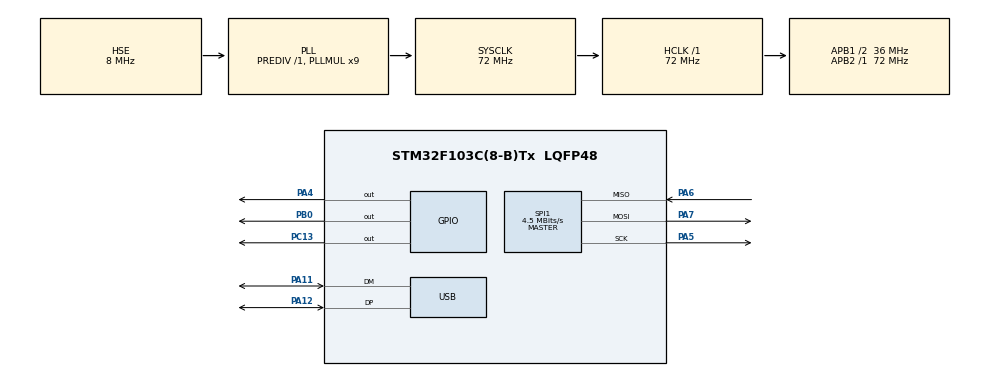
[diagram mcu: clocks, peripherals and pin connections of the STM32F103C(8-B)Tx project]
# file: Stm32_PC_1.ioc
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Mcu.Family=STM32F1
Mcu.Name=STM32F103C(8-B)Tx
Mcu.Package=LQFP48
NVIC.PriorityGroup=NVIC_PRIORITYGROUP_4
NVIC.SPI1_IRQn=true\:0\:0\:false\:false\:true\:true\:true\:true
NVIC.USB_HP_CAN1_TX_IRQn=true\:0\:0\:false\:false\:true\:true\:true\:true
NVIC.USB_LP_CAN1_RX0_IRQn=true\:0\:0\:false\:false\:true\:false\:true\:true
PA11.Mode=Device
PA11.Signal=USB_DM
PA12.Mode=Device
PA12.Signal=USB_DP
PA13.Mode=Serial_Wire
PA13.Signal=SYS_JTMS-SWDIO
PA14.Mode=Serial_Wire
PA14.Signal=SYS_JTCK-SWCLK
PA4.Signal=GPIO_Output
PA5.Mode=Full_Duplex_Master
PA5.Signal=SPI1_SCK
PA6.Mode=Full_Duplex_Master
PA6.Signal=SPI1_MISO
PA7.Mode=Full_Duplex_Master
PA7.Signal=SPI1_MOSI
PB0.Signal=GPIO_Output
PC13-TAMPER-RTC.Signal=GPIO_Output
PD0-OSC_IN.Mode=HSE-External-Oscillator
PD0-OSC_IN.Signal=RCC_OSC_IN
PD1-OSC_OUT.Mode=HSE-External-Oscillator
PD1-OSC_OUT.Signal=RCC_OSC_OUT
ProjectManager.HeapSize=0x200
ProjectManager.StackSize=0x400
ProjectManager.TargetToolchain=STM32CubeIDE
RCC.AHBFreq_Value=72000000
RCC.APB1CLKDivider=RCC_HCLK_DIV2
RCC.APB1Freq_Value=36000000
RCC.APB1TimFreq_Value=72000000
RCC.APB2Freq_Value=72000000
RCC.APB2TimFreq_Value=72000000
RCC.HCLKFreq_Value=72000000
RCC.PLLMUL=RCC_PLL_MUL9
RCC.PLLSourceVirtual=RCC_PLLSOURCE_HSE
RCC.SYSCLKFreq_VALUE=72000000
RCC.SYSCLKSource=RCC_SYSCLKSOURCE_PLLCLK
RCC.USBFreq_Value=48000000
RCC.USBPrescaler=RCC_USBCLKSOURCE_PLL_DIV1_5
SPI1.BaudRatePrescaler=SPI_BAUDRATEPRESCALER_16
SPI1.CalculateBaudRate=4.5 MBits/s
SPI1.Direction=SPI_DIRECTION_2LINES
SPI1.Mode=SPI_MODE_MASTER
SPI1.VirtualType=VM_MASTER
USB_DEVICE.CLASS_NAME_FS=CDC
USB_DEVICE.VirtualMode=Cdc
USB_DEVICE.VirtualModeFS=Cdc_FS
VP_USB_DEVICE_VS_USB_DEVICE_CDC_FS.Mode=CDC_FS
board=custom

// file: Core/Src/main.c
/* USER CODE BEGIN Header */
/**
  ******************************************************************************
  * @file           : main.c
  * @brief          : Main program body
  ******************************************************************************
  * @attention
  *
  * Copyright (c) 2023 STMicroelectronics.
  * All rights reserved.
  *
  * This software is licensed under terms that can be found in the LICENSE file
  * in the root directory of this software component.
  * If no LICENSE file comes with this software, it is provided AS-IS.
  *
  ******************************************************************************
  */
/* USER CODE END Header */
#include "main.h"
#include "usb_device.h"

/* USER CODE BEGIN Includes */
#include "NRF24L01.h"
/* USER CODE END Includes */

/* USER CODE BEGIN PD */
uint8_t UserRxBuffer[4]={0,0,0,0};
uint8_t RxAddress[] = {0x00,0xDD,0xCC,0xBB,0xAA};
uint8_t RxData[10] = {0,0,0,0,0,0,0,0,0,0};

uint16_t cont;
uint8_t TxAddress[] = {0xEE,0xDD,0xCC,0xBB,0xAA};
uint8_t TxData[10] = {0,0,0,0,0,0,0,0,0,0};
int tam;

/* USER CODE END PD */

SPI_HandleTypeDef hspi1;

void SystemClock_Config(void);
static void MX_GPIO_Init(void);
static void MX_SPI1_Init(void);

int main(void)
{

  /* MCU Configuration--------------------------------------------------------*/

  /* Reset of all peripherals, Initializes the Flash interface and the Systick. */
  HAL_Init();

  /* Configure the system clock */
  SystemClock_Config();

  /* Initialize all configured peripherals */
  MX_GPIO_Init();
  MX_USB_DEVICE_Init();
  MX_SPI1_Init();
  /* USER CODE BEGIN 2 */
  NRF24_Init();
  //HAL_TIM_Base_Start_IT(&htim3);
  NRF24_TxMode(TxAddress, 10);
  /* USER CODE END 2 */

  /* Infinite loop */
  while (1)
  {

    /* USER CODE BEGIN 3 */

	 	  	  if(isDataAvailable(2) == 1)
	 	  	  {
	 	  		NRF24_Receive(RxData);
	 	  		tam = sizeof(RxData);
	 	  		CDC_Transmit_FS(RxData, tam);  //envia dados para PC
	 	  		HAL_GPIO_WritePin(GPIOC, GPIO_PIN_13, GPIO_PIN_RESET);
	 	  		NRF24_TxMode(TxAddress, 10);
	 	  	  }

	 	  	 //HAL_Delay(5);
	 	  	     TxData[0] = UserRxBuffer[0];
	 	  	     TxData[1] = UserRxBuffer[1];
	 	  	     TxData[2] = UserRxBuffer[2];
	 	  	     TxData[3] = UserRxBuffer[3];

	 	  	   	 if(NRF24_Transmit(TxData) == 1){
	 	  	   		HAL_GPIO_WritePin(GPIOC, GPIO_PIN_13, GPIO_PIN_SET);
	 	  	   		NRF24_RxMode(RxAddress, 10);
	 	  	   	 }

	 	  	 //while(cont<3600){ cont++;} cont =0;

	 	   	  //HAL_Delay(10);
	 	  //
	 	  //	HAL_Delay(100);

  }
  /* USER CODE END 3 */
}

void SystemClock_Config(void)
{
  RCC_OscInitTypeDef RCC_OscInitStruct = {0};
  RCC_ClkInitTypeDef RCC_ClkInitStruct = {0};
  RCC_PeriphCLKInitTypeDef PeriphClkInit = {0};

  /** Initializes the RCC Oscillators according to the specified parameters
  * in the RCC_OscInitTypeDef structure.
  */
  RCC_OscInitStruct.OscillatorType = RCC_OSCILLATORTYPE_HSE;
  RCC_OscInitStruct.HSEState = RCC_HSE_ON;
  RCC_OscInitStruct.HSEPredivValue = RCC_HSE_PREDIV_DIV1;
  RCC_OscInitStruct.HSIState = RCC_HSI_ON;
  RCC_OscInitStruct.PLL.PLLState = RCC_PLL_ON;
  RCC_OscInitStruct.PLL.PLLSource = RCC_PLLSOURCE_HSE;
  RCC_OscInitStruct.PLL.PLLMUL = RCC_PLL_MUL9;
  if (HAL_RCC_OscConfig(&RCC_OscInitStruct) != HAL_OK)
  {
    Error_Handler();
  }

  /** Initializes the CPU, AHB and APB buses clocks
  */
  RCC_ClkInitStruct.ClockType = RCC_CLOCKTYPE_HCLK|RCC_CLOCKTYPE_SYSCLK
                              |RCC_CLOCKTYPE_PCLK1|RCC_CLOCKTYPE_PCLK2;
  RCC_ClkInitStruct.SYSCLKSource = RCC_SYSCLKSOURCE_PLLCLK;
  RCC_ClkInitStruct.AHBCLKDivider = RCC_SYSCLK_DIV1;
  RCC_ClkInitStruct.APB1CLKDivider = RCC_HCLK_DIV2;
  RCC_ClkInitStruct.APB2CLKDivider = RCC_HCLK_DIV1;

  if (HAL_RCC_ClockConfig(&RCC_ClkInitStruct, FLASH_LATENCY_2) != HAL_OK)
  {
    Error_Handler();
  }
  PeriphClkInit.PeriphClockSelection = RCC_PERIPHCLK_USB;
  PeriphClkInit.UsbClockSelection = RCC_USBCLKSOURCE_PLL_DIV1_5;
  if (HAL_RCCEx_PeriphCLKConfig(&PeriphClkInit) != HAL_OK)
  {
    Error_Handler();
  }
}

static void MX_SPI1_Init(void)
{

  /* SPI1 parameter configuration*/
  hspi1.Instance = SPI1;
  hspi1.Init.Mode = SPI_MODE_MASTER;
  hspi1.Init.Direction = SPI_DIRECTION_2LINES;
  hspi1.Init.DataSize = SPI_DATASIZE_8BIT;
  hspi1.Init.CLKPolarity = SPI_POLARITY_LOW;
  hspi1.Init.CLKPhase = SPI_PHASE_1EDGE;
  hspi1.Init.NSS = SPI_NSS_SOFT;
  hspi1.Init.BaudRatePrescaler = SPI_BAUDRATEPRESCALER_16;
  hspi1.Init.FirstBit = SPI_FIRSTBIT_MSB;
  hspi1.Init.TIMode = SPI_TIMODE_DISABLE;
  hspi1.Init.CRCCalculation = SPI_CRCCALCULATION_DISABLE;
  hspi1.Init.CRCPolynomial = 10;
  if (HAL_SPI_Init(&hspi1) != HAL_OK)
  {
    Error_Handler();
  }

}

static void MX_GPIO_Init(void)
{
  GPIO_InitTypeDef GPIO_InitStruct = {0};

  /* GPIO Ports Clock Enable */
  __HAL_RCC_GPIOC_CLK_ENABLE();
  __HAL_RCC_GPIOD_CLK_ENABLE();
  __HAL_RCC_GPIOA_CLK_ENABLE();
  __HAL_RCC_GPIOB_CLK_ENABLE();

  /*Configure GPIO pin Output Level */
  HAL_GPIO_WritePin(GPIOC, GPIO_PIN_13, GPIO_PIN_RESET);

  /*Configure GPIO pin Output Level */
  HAL_GPIO_WritePin(GPIOA, GPIO_PIN_4, GPIO_PIN_RESET);

  /*Configure GPIO pin Output Level */
  HAL_GPIO_WritePin(GPIOB, GPIO_PIN_0, GPIO_PIN_RESET);

  /*Configure GPIO pin : PC13 */
  GPIO_InitStruct.Pin = GPIO_PIN_13;
  GPIO_InitStruct.Mode = GPIO_MODE_OUTPUT_PP;
  GPIO_InitStruct.Pull = GPIO_NOPULL;
  GPIO_InitStruct.Speed = GPIO_SPEED_FREQ_LOW;
  HAL_GPIO_Init(GPIOC, &GPIO_InitStruct);

  /*Configure GPIO pin : PA4 */
  GPIO_InitStruct.Pin = GPIO_PIN_4;
  GPIO_InitStruct.Mode = GPIO_MODE_OUTPUT_PP;
  GPIO_InitStruct.Pull = GPIO_NOPULL;
  GPIO_InitStruct.Speed = GPIO_SPEED_FREQ_LOW;
  HAL_GPIO_Init(GPIOA, &GPIO_InitStruct);

  /*Configure GPIO pin : PB0 */
  GPIO_InitStruct.Pin = GPIO_PIN_0;
  GPIO_InitStruct.Mode = GPIO_MODE_OUTPUT_PP;
  GPIO_InitStruct.Pull = GPIO_NOPULL;
  GPIO_InitStruct.Speed = GPIO_SPEED_FREQ_LOW;
  HAL_GPIO_Init(GPIOB, &GPIO_InitStruct);

}

void Error_Handler(void)
{
  __disable_irq();
  while (1)
  {
  }
}
